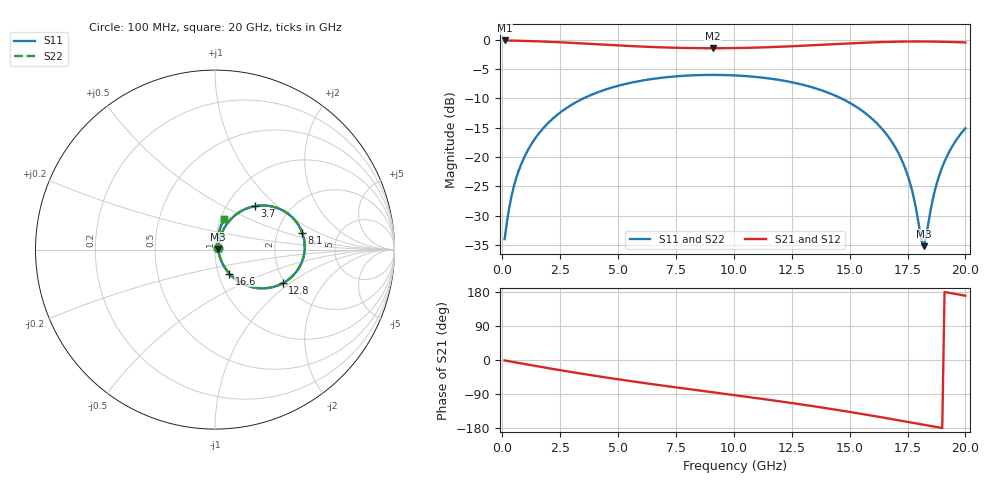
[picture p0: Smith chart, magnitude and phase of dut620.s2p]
! Touchstone file exported from HFSS 2026.1.0
!  File:  C:/ffzhzh/LocalFiles/Ansys_Project_Files/temp_train_TSV_RDL_620_1783124734_35180.aedt
!  Generated:  08:34:40 AM Jul  4, 2026
!  Design:  TSV_RDL
!  Project:  temp_train_TSV_RDL_620_1783124734_35180
! Variables:
!  h_bsmrdl = 4.39um
!  h_ox = 20um
!  h_rdl = 5um
!  h_sub = 68.06um
!  h_tmrdl = 2.19um
!  h_tsv = 68.06um
!  h_via = 3um
!  l_bsmrdl = 378.14um
!  l_sub = 3110.84um
!  l_tmrdl = 361.6um
!  m_sub = 200um
!  pitch = 52.09um
!  r_tsv = 13.58um
!  s_tmrdl = 10um
!  w_bsmrdl = 23.33um
!  w_sub = 500um
!  w_tmrdl = 20.01um
!  x_tsv_center1 = 371.605um
!  x_tsv_center2 = 773.075um
!  x_tsv_center3 = 1154.685um
!  x_tsv_center4 = 1556.155um
!  x_tsv_center5 = 1937.765um
!  x_tsv_center6 = 2339.235um
# GHz S MA R 50.000000
! Terminal data exported
! Port[1] = TM_RDL1_1_T1
! Port[2] = TM_RDL5_1_T1
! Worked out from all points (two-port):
!   200 points, 100 MHz to 20 GHz, reference 50 ohm
!   highest |S21| = -0.15 dB at 100 MHz (marker M1); lowest = -1.5 dB at 9.1 GHz (marker M2)
!   |S21| within 3 dB of the highest: start of sweep to end of sweep
!   lowest |S11| = -35.2 dB at 18.2 GHz (marker M3), VSWR 1.04, Z = 51.7 + j0.34 ohm
!   |S11| at or under -10 dB: start of sweep to 3.51 GHz; 14.63 GHz to end of sweep
!   |S22| runs from -35.2 to -6.0 dB; largest |S21 - S12| = 6e-15
!   S11 on the Smith chart (normalised r, x): 100 MHz: 1.03, +0.02; 3.7 GHz: 1.35, +0.73; 8.1 GHz: 2.77, +0.69; 12.8 GHz: 1.94, -0.89; 16.6 GHz: 1.13, -0.31; 20 GHz: 1.04, +0.36
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0.1  0.02002 32.6  0.9833 -1.2  0.9833 -1.2  0.02002 32.6
! Gamma 0 0 0 0
! Port Impedance 50 0 50 0
0.3  0.03716 58.1  0.9817 -3.4  0.9817 -3.4  0.03716 58.1
0.5  0.05642 64.8  0.9797 -5.6  0.9797 -5.6  0.05642 64.8
1.1  0.1139 67.4  0.9729 -12.1  0.9729 -12.1  0.1139 67.4
2.1  0.2055 61.2  0.957 -22.7  0.957 -22.7  0.2055 61.2
3.5  0.3155 49.1  0.9266 -36.8  0.9266 -36.8  0.3155 49.1
3.7  0.3291 47.4  0.9219 -38.8  0.9219 -38.8  0.3291 47.4
6.8  0.4712 21.2  0.86 -66.5  0.86 -66.5  0.4712 21.2
8.1  0.4951 10.9  0.8472 -77.1  0.8472 -77.1  0.4951 10.9
9.1  0.5005 3.2  0.8442 -85.2  0.8442 -85.2  0.5005 3.2
10.1  0.4948 -4.6  0.8473 -93.3  0.8473 -93.3  0.4948 -4.6
12.8  0.4207 -26.5  0.8832 -116.2  0.8832 -116.2  0.4207 -26.6
13.4  0.3916 -31.7  0.8951 -121.6  0.8951 -121.6  0.3916 -31.7
15.3  0.267 -48.5  0.9347 -140.0  0.9347 -140.0  0.267 -48.5
16.6  0.1556 -59.0  0.9555 -153.6  0.9555 -153.6  0.1557 -59.0
16.7  0.1464 -59.7  0.9567 -154.6  0.9567 -154.6  0.1464 -59.7
17.5  0.07066 -60.7  0.9629 -163.3  0.9629 -163.3  0.07068 -60.7
18.2  0.01744 10.9  0.9637 -170.9  0.9637 -170.9  0.01744 10.8
18.6  0.04437 70.2  0.962 -175.2  0.962 -175.2  0.04436 70.2
18.9  0.07258 76.3  0.9598 -178.5  0.9598 -178.5  0.07257 76.2
19.4  0.1203 76.5  0.9543 176.1  0.9543 176.1  0.1202 76.5
20  0.1759 72.9  0.9451 169.7  0.9451 169.7  0.1759 72.9
